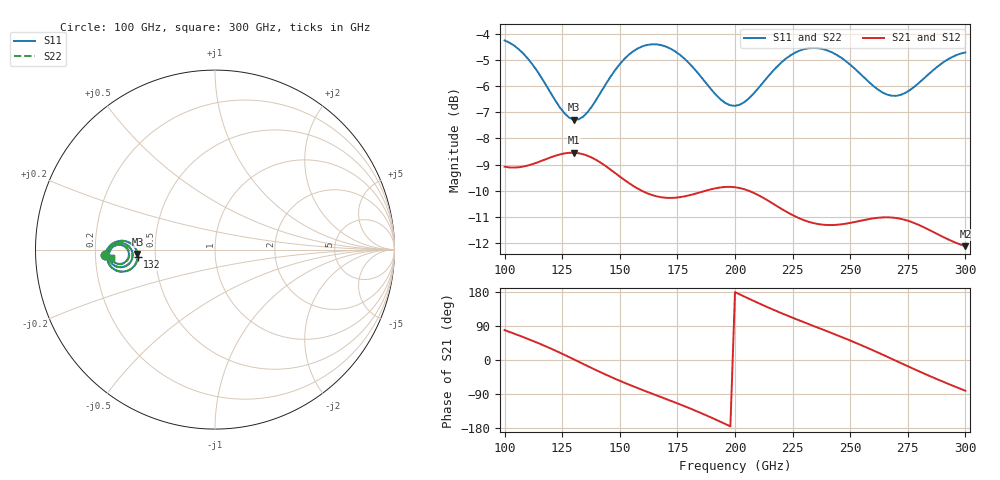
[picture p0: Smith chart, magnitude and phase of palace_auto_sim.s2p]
#  GHZ S DB R 50
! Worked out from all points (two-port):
!   101 points, 100 GHz to 300 GHz, reference 50 ohm
!   highest |S21| = -8.55 dB at 130 GHz (marker M1); lowest = -12.1 dB at 300 GHz (marker M2)
!   |S21| within 3 dB of the highest: start of sweep to 285.3 GHz
!   lowest |S11| = -7.3 dB at 130 GHz (marker M3), VSWR 2.52, Z = 19.8 - j1.17 ohm
!   |S11| at or under -10 dB: nowhere
!   |S22| runs from -7.3 to -4.2 dB; largest |S21 - S12| = 0
!   S11 on the Smith chart (normalised r, x): 100 GHz: 0.24, -0.02; 132 GHz: 0.40, -0.04; 300 GHz: 0.26, -0.04
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100  -4.25 -177.4  -9.08 78.9  -9.08 78.9  -4.25 -177.4
116  -5.67 174.6  -8.86 40.9  -8.86 40.9  -5.68 174.6
124  -6.81 177.1  -8.61 19.2  -8.61 19.2  -6.82 177.1
130  -7.28 -176.8  -8.55 1.8  -8.55 1.8  -7.29 -176.8
132  -7.27 -174.4  -8.56 -4.1  -8.56 -4.1  -7.28 -174.4
134  -7.17 -172.1  -8.60 -10.0  -8.60 -10.0  -7.18 -172.1
142  -6.20 -166.7  -8.95 -33.2  -8.95 -33.2  -6.20 -166.6
150  -5.15 -167.5  -9.46 -54.9  -9.46 -54.9  -5.15 -167.4
160  -4.46 -172.8  -10.02 -79.5  -10.02 -79.5  -4.46 -172.7
168  -4.43 -177.7  -10.25 -98.1  -10.25 -98.1  -4.42 -177.6
184  -5.50 176.0  -10.09 -136.8  -10.09 -136.8  -5.50 176.0
192  -6.35 177.7  -9.90 -158.2  -9.90 -158.2  -6.35 177.7
200  -6.75 -176.3  -9.87 179.1  -9.87 179.1  -6.74 -176.4
208  -6.29 -170.7  -10.08 156.2  -10.08 156.2  -6.28 -170.7
216  -5.46 -169.4  -10.47 134.4  -10.47 134.4  -5.46 -169.4
224  -4.82 -171.6  -10.89 114.0  -10.89 114.0  -4.82 -171.7
234  -4.53 -176.3  -11.24 89.9  -11.24 89.9  -4.54 -176.4
252  -5.33 177.2  -11.20 46.3  -11.20 46.3  -5.35 177.1
268  -6.36 -177.8  -11.03 3.2  -11.03 3.2  -6.40 -177.8
276  -6.14 -173.2  -11.18 -19.2  -11.18 -19.2  -6.18 -173.2
284  -5.54 -171.4  -11.49 -40.9  -11.49 -40.9  -5.57 -171.3
300  -4.70 -175.4  -12.13 -81.2  -12.13 -81.2  -4.72 -175.3
